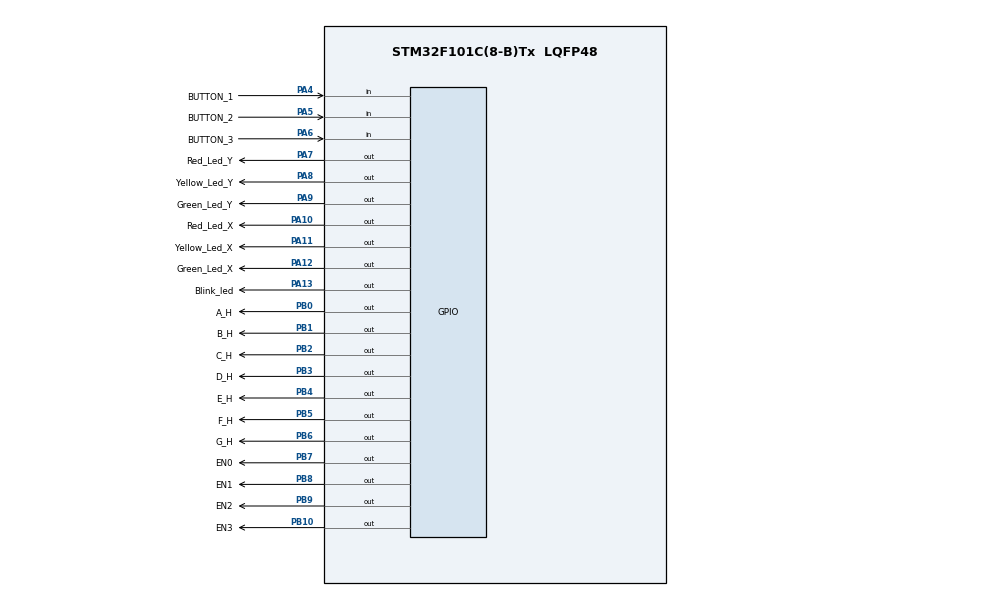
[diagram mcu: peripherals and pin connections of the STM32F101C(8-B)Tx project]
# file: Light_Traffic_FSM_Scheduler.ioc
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Mcu.Family=STM32F1
Mcu.Name=STM32F101C(8-B)Tx
Mcu.Package=LQFP48
NVIC.PriorityGroup=NVIC_PRIORITYGROUP_4
NVIC.TIM2_IRQn=true\:0\:0\:false\:false\:true\:true\:true\:true
PA10.GPIO_Label=Red_Led_X
PA10.Signal=GPIO_Output
PA11.GPIO_Label=Yellow_Led_X
PA11.Signal=GPIO_Output
PA12.GPIO_Label=Green_Led_X
PA12.Signal=GPIO_Output
PA13.GPIO_Label=Blink_led
PA13.Signal=GPIO_Output
PA4.GPIO_Label=BUTTON_1
PA4.GPIO_PuPd=GPIO_PULLUP
PA4.Signal=GPIO_Input
PA5.GPIO_Label=BUTTON_2
PA5.GPIO_PuPd=GPIO_PULLUP
PA5.Signal=GPIO_Input
PA6.GPIO_Label=BUTTON_3
PA6.GPIO_PuPd=GPIO_PULLUP
PA6.Signal=GPIO_Input
PA7.GPIO_Label=Red_Led_Y
PA7.Signal=GPIO_Output
PA8.GPIO_Label=Yellow_Led_Y
PA8.Signal=GPIO_Output
PA9.GPIO_Label=Green_Led_Y
PA9.Signal=GPIO_Output
PB0.GPIO_Label=A_H
PB0.Signal=GPIO_Output
PB1.GPIO_Label=B_H
PB1.Signal=GPIO_Output
PB10.GPIO_Label=EN3
PB10.Signal=GPIO_Output
PB2.GPIO_Label=C_H
PB2.Signal=GPIO_Output
PB3.GPIO_Label=D_H
PB3.Signal=GPIO_Output
PB4.GPIO_Label=E_H
PB4.Signal=GPIO_Output
PB5.GPIO_Label=F_H
PB5.Signal=GPIO_Output
PB6.GPIO_Label=G_H
PB6.Signal=GPIO_Output
PB7.GPIO_Label=EN0
PB7.Signal=GPIO_Output
PB8.GPIO_Label=EN1
PB8.Signal=GPIO_Output
PB9.GPIO_Label=EN2
PB9.Signal=GPIO_Output
ProjectManager.HeapSize=0x200
ProjectManager.StackSize=0x400
ProjectManager.TargetToolchain=STM32CubeIDE
RCC.APB1Freq_Value=8000000
RCC.APB2Freq_Value=8000000
TIM2.Period=9
TIM2.Prescaler=7999
VP_SYS_VS_ND.Mode=No_Debug
VP_TIM2_VS_ClockSourceINT.Mode=Internal
board=custom

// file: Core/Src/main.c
/* USER CODE BEGIN Header */
/**
  ******************************************************************************
  * @file           : main.c
  * @brief          : Main program body
  ******************************************************************************
  * @attention
  *
  * Copyright (c) 2025 STMicroelectronics.
  * All rights reserved.
  *
  * This software is licensed under terms that can be found in the LICENSE file
  * in the root directory of this software component.
  * If no LICENSE file comes with this software, it is provided AS-IS.
  *
  ******************************************************************************
  */
/* USER CODE END Header */
#include "main.h"

/* USER CODE BEGIN Includes */
#include "global.h"
#include "scheduler.h"

/* USER CODE END Includes */

TIM_HandleTypeDef htim2;

void SystemClock_Config(void);
static void MX_GPIO_Init(void);
static void MX_TIM2_Init(void);

int main(void)
{

  /* MCU Configuration--------------------------------------------------------*/

  /* Reset of all peripherals, Initializes the Flash interface and the Systick. */
  HAL_Init();

  /* Configure the system clock */
  SystemClock_Config();

  /* Initialize all configured peripherals */
  MX_GPIO_Init();
  MX_TIM2_Init();
  /* USER CODE BEGIN 2 */
  HAL_TIM_Base_Start_IT(&htim2);

  status = INIT;
  red_duration = 5;
  yellow_duration = 2;
  green_duration = 3;

  SCH_Init();
  SCH_Add_Task(unittest_blink, 0, 500);
  SCH_Add_Task(fsm_automatic_run, 250, 250);
  SCH_Add_Task(fsm_manual_run, 250, 250);
  SCH_Add_Task(fsm_setting_run, 250, 250);
  SCH_Add_Task(getKeyInput, 10, 10);

  /* USER CODE END 2 */

  /* Infinite loop */
  while (1)
  {

    /* USER CODE BEGIN 3 */
	  SCH_Dispatch_Task();
  }
  /* USER CODE END 3 */
}

void SystemClock_Config(void)
{
  RCC_OscInitTypeDef RCC_OscInitStruct = {0};
  RCC_ClkInitTypeDef RCC_ClkInitStruct = {0};

  /** Initializes the RCC Oscillators according to the specified parameters
  * in the RCC_OscInitTypeDef structure.
  */
  RCC_OscInitStruct.OscillatorType = RCC_OSCILLATORTYPE_HSI;
  RCC_OscInitStruct.HSIState = RCC_HSI_ON;
  RCC_OscInitStruct.HSICalibrationValue = RCC_HSICALIBRATION_DEFAULT;
  RCC_OscInitStruct.PLL.PLLState = RCC_PLL_NONE;
  if (HAL_RCC_OscConfig(&RCC_OscInitStruct) != HAL_OK)
  {
    Error_Handler();
  }

  /** Initializes the CPU, AHB and APB buses clocks
  */
  RCC_ClkInitStruct.ClockType = RCC_CLOCKTYPE_HCLK|RCC_CLOCKTYPE_SYSCLK
                              |RCC_CLOCKTYPE_PCLK1|RCC_CLOCKTYPE_PCLK2;
  RCC_ClkInitStruct.SYSCLKSource = RCC_SYSCLKSOURCE_HSI;
  RCC_ClkInitStruct.AHBCLKDivider = RCC_SYSCLK_DIV1;
  RCC_ClkInitStruct.APB1CLKDivider = RCC_HCLK_DIV1;
  RCC_ClkInitStruct.APB2CLKDivider = RCC_HCLK_DIV1;

  if (HAL_RCC_ClockConfig(&RCC_ClkInitStruct, FLASH_LATENCY_0) != HAL_OK)
  {
    Error_Handler();
  }
}

static void MX_TIM2_Init(void)
{

  TIM_ClockConfigTypeDef sClockSourceConfig = {0};
  TIM_MasterConfigTypeDef sMasterConfig = {0};

  htim2.Instance = TIM2;
  htim2.Init.Prescaler = 7999;
  htim2.Init.CounterMode = TIM_COUNTERMODE_UP;
  htim2.Init.Period = 9;
  htim2.Init.ClockDivision = TIM_CLOCKDIVISION_DIV1;
  htim2.Init.AutoReloadPreload = TIM_AUTORELOAD_PRELOAD_DISABLE;
  if (HAL_TIM_Base_Init(&htim2) != HAL_OK)
  {
    Error_Handler();
  }
  sClockSourceConfig.ClockSource = TIM_CLOCKSOURCE_INTERNAL;
  if (HAL_TIM_ConfigClockSource(&htim2, &sClockSourceConfig) != HAL_OK)
  {
    Error_Handler();
  }
  sMasterConfig.MasterOutputTrigger = TIM_TRGO_RESET;
  sMasterConfig.MasterSlaveMode = TIM_MASTERSLAVEMODE_DISABLE;
  if (HAL_TIMEx_MasterConfigSynchronization(&htim2, &sMasterConfig) != HAL_OK)
  {
    Error_Handler();
  }

}

static void MX_GPIO_Init(void)
{
  GPIO_InitTypeDef GPIO_InitStruct = {0};

  /* GPIO Ports Clock Enable */
  __HAL_RCC_GPIOA_CLK_ENABLE();
  __HAL_RCC_GPIOB_CLK_ENABLE();

  /*Configure GPIO pin Output Level */
  HAL_GPIO_WritePin(GPIOA, Red_Led_Y_Pin|Yellow_Led_Y_Pin|Green_Led_Y_Pin|Red_Led_X_Pin
                          |Yellow_Led_X_Pin|Green_Led_X_Pin|Blink_led_Pin, GPIO_PIN_RESET);

  /*Configure GPIO pin Output Level */
  HAL_GPIO_WritePin(GPIOB, A_H_Pin|B_H_Pin|C_H_Pin|EN3_Pin
                          |D_H_Pin|E_H_Pin|F_H_Pin|G_H_Pin
                          |EN0_Pin|EN1_Pin|EN2_Pin, GPIO_PIN_RESET);

  /*Configure GPIO pins : BUTTON_1_Pin BUTTON_2_Pin BUTTON_3_Pin */
  GPIO_InitStruct.Pin = BUTTON_1_Pin|BUTTON_2_Pin|BUTTON_3_Pin;
  GPIO_InitStruct.Mode = GPIO_MODE_INPUT;
  GPIO_InitStruct.Pull = GPIO_PULLUP;
  HAL_GPIO_Init(GPIOA, &GPIO_InitStruct);

  /*Configure GPIO pins : Red_Led_Y_Pin Yellow_Led_Y_Pin Green_Led_Y_Pin Red_Led_X_Pin
                           Yellow_Led_X_Pin Green_Led_X_Pin Blink_led_Pin */
  GPIO_InitStruct.Pin = Red_Led_Y_Pin|Yellow_Led_Y_Pin|Green_Led_Y_Pin|Red_Led_X_Pin
                          |Yellow_Led_X_Pin|Green_Led_X_Pin|Blink_led_Pin;
  GPIO_InitStruct.Mode = GPIO_MODE_OUTPUT_PP;
  GPIO_InitStruct.Pull = GPIO_NOPULL;
  GPIO_InitStruct.Speed = GPIO_SPEED_FREQ_LOW;
  HAL_GPIO_Init(GPIOA, &GPIO_InitStruct);

  /*Configure GPIO pins : A_H_Pin B_H_Pin C_H_Pin EN3_Pin
                           D_H_Pin E_H_Pin F_H_Pin G_H_Pin
                           EN0_Pin EN1_Pin EN2_Pin */
  GPIO_InitStruct.Pin = A_H_Pin|B_H_Pin|C_H_Pin|EN3_Pin
                          |D_H_Pin|E_H_Pin|F_H_Pin|G_H_Pin
                          |EN0_Pin|EN1_Pin|EN2_Pin;
  GPIO_InitStruct.Mode = GPIO_MODE_OUTPUT_PP;
  GPIO_InitStruct.Pull = GPIO_NOPULL;
  GPIO_InitStruct.Speed = GPIO_SPEED_FREQ_LOW;
  HAL_GPIO_Init(GPIOB, &GPIO_InitStruct);

}

/* USER CODE BEGIN 4 */
void HAL_TIM_PeriodElapsedCallback(TIM_HandleTypeDef *htim) {
	SCH_Updated();
}

/* USER CODE END 4 */

void Error_Handler(void)
{
  __disable_irq();
  while (1)
  {
  }
}
